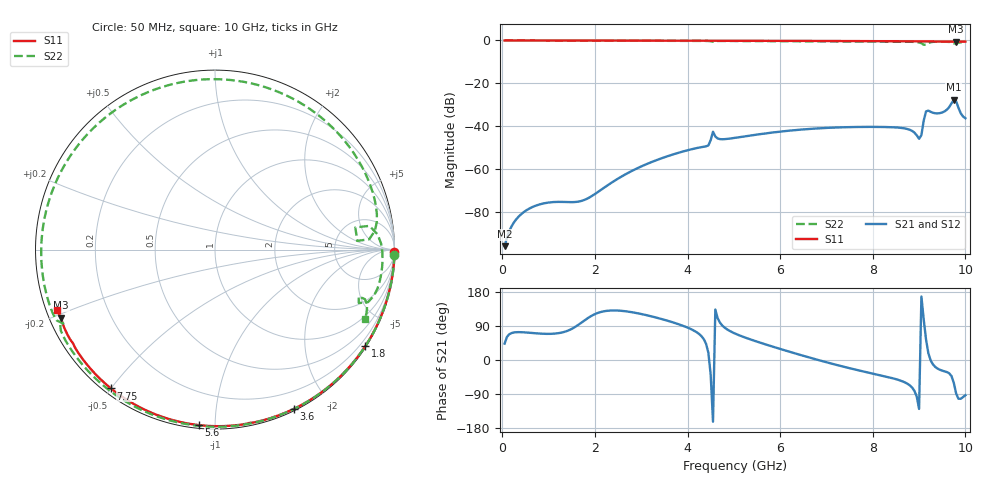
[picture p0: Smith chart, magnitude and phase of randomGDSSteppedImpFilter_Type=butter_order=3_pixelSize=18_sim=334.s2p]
! freq	dB(S11)	phase(S11)	dB(S12)	phase(S12)
!  dB(S21)	phase(S21)	dB(S22)	phase(S22)
!S-par simulation data
#  GHz  S  DB  R 50
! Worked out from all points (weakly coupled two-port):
!   200 points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, 50 MHz to 10 GHz, reference 50 ohm
!   highest |S21| = -27.66 dB at 9.75 GHz (marker M1); lowest = -96.1 dB at 50 MHz (marker M2)
!   lowest |S11| = -0.6 dB at 9.8 GHz (marker M3), VSWR 30.40, Z = 1.72 - j10.5 ohm
!   |S11| at or under -10 dB: nowhere
!   |S22| runs from -2.0 to 0.0 dB; largest |S21 - S12| = 0
!   S11 on the Smith chart (normalised r, x): 50 MHz: open; 1.8 GHz: 0.03, -3.41; 3.6 GHz: 0.02, -1.61; 5.6 GHz: 0.02, -0.91; 7.75 GHz: 0.02, -0.50; 10 GHz: 0.03, -0.18
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0.05  -0.00 -0.9  -96.09 43.2  -96.09 43.2  -0.00 -1.7
1.75  -0.04 -31.8  -74.67 102.3  -74.67 102.3  -0.08 -60.0
1.8  -0.04 -32.6  -74.24 106.6  -74.24 106.6  -0.08 -61.7
2.6  -0.06 -46.6  -63.25 129.5  -63.25 129.5  -0.11 -88.5
3.4  -0.08 -60.2  -55.34 109.5  -55.34 109.5  -0.15 -115.3
3.6  -0.09 -63.5  -53.84 102.5  -53.84 102.5  -0.16 -122.1
4.45  -0.11 -77.4  -49.02 19.2  -49.02 19.2  -0.26 -152.3
4.55  -0.14 -78.9  -42.64 -162.7  -42.64 -162.7  -0.54 -154.0
4.7  -0.12 -81.3  -46.08 98.5  -46.08 98.5  -0.25 -160.0
5.05  -0.13 -86.8  -45.42 68.5  -45.42 68.5  -0.27 -173.3
5.6  -0.16 -95.2  -43.66 44.5  -43.66 44.5  -0.31 165.2
6.7  -0.22 -111.6  -41.23 4.1  -41.23 4.1  -0.41 117.7
7.75  -0.29 -126.8  -40.40 -28.9  -40.40 -28.9  -0.48 67.9
8.35  -0.35 -135.4  -40.48 -45.7  -40.48 -45.7  -0.51 39.1
8.8  -0.40 -141.9  -41.74 -67.1  -41.74 -67.1  -0.61 17.6
9  -0.43 -144.9  -45.93 -129.1  -45.93 -129.1  -0.94 6.7
9.05  -0.44 -145.6  -44.25 167.5  -44.25 167.5  -1.30 3.8
9.15  -0.47 -146.8  -33.14 54.3  -33.14 54.3  -2.03 9.0
9.5  -0.48 -152.1  -33.64 -28.1  -33.64 -28.1  -0.57 -8.5
9.75  -0.57 -155.7  -27.66 -60.5  -27.66 -60.5  -1.37 -20.4
9.8  -0.57 -156.2  -28.37 -88.2  -28.37 -88.2  -1.49 -18.0
10  -0.54 -159.2  -36.34 -92.9  -36.34 -92.9  -0.72 -24.9
